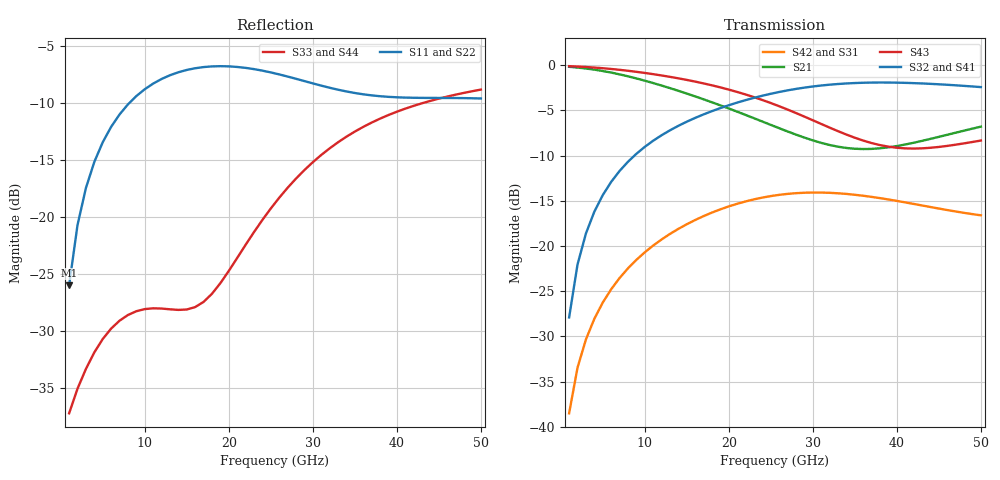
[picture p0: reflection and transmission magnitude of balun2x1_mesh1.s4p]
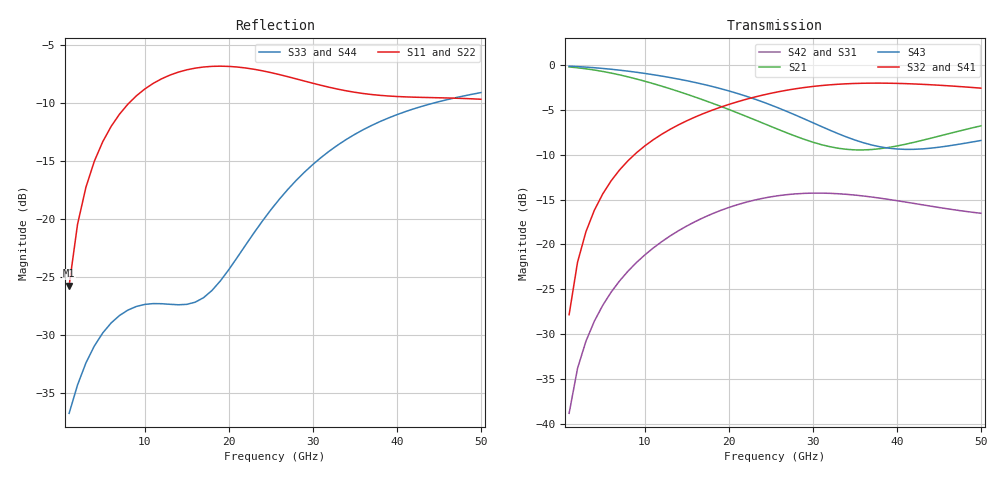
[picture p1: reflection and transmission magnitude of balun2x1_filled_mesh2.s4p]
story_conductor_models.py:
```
#!/usr/bin/env python
"""Plot and numbers for README.md section "Conductor model": surface impedance (the mesh study above) vs. conductors meshed as
volumes: settings['conductor_model'] = 'solve_inside' and 'solve_inside_skin'.

Writes results/plots/story_conductor_models.png (primary Q and |Sdd21| vs. frequency) and prints the numbers quoted
in README.md. Reference: 'solve_inside_skin', 1 um mesh. DOF from the Palace output of each run.
"""
import os
import matplotlib
matplotlib.use("Agg")
import matplotlib.pyplot as plt

import story_plots as S

RUNS = [  # label, Touchstone file, DOF, color, line style
    ("surface impedance, 1 µm", "balun2x1_mesh1.s4p", 1757854, S.BLUE, "-"),
    ("solve_inside, 2 µm", "balun2x1_filled_mesh2.s4p", 1035766, S.ORANGE, "--"),
    ("solve_inside_skin, 2 µm", "balun2x1_skin_mesh2.s4p", 1701490, S.AQUA, "--"),
    ("solve_inside_skin, 1 µm", "balun2x1_skin_mesh1.s4p", 3851706, S.INK, "-"),
]
TABLE = RUNS[-1:] + [("solve_inside_skin, 2 µm", "balun2x1_skin_mesh2.s4p", 1701490, None, None),
                     ("solve_inside_skin, 5 µm", "balun2x1_skin_mesh5.s4p", 610096, None, None),
                     ("solve_inside, 2 µm", "balun2x1_filled_mesh2.s4p", 1035766, None, None),
                     ("surface impedance, 1 µm", "balun2x1_mesh1.s4p", 1757854, None, None),
                     ("surface impedance, 2 µm", "balun2x1_mesh2.s4p", 860902, None, None)]
REFERENCE = "balun2x1_skin_mesh1.s4p"


def plot():
    fig, axes = plt.subplots(1, 2, figsize=(10, 3.9))
    for label, fname, _, color, ls in RUNS:
        ntw = S.load(fname)
        m = S.merits(ntw)
        coil = ntw.f <= S.F_COIL_MAX
        axes[0].plot(ntw.f[coil] / 1e9, m["Qp"][coil], color=color, linestyle=ls, linewidth=2, label=label)
        axes[1].plot(ntw.f / 1e9, m["Sdd21"], color=color, linestyle=ls, linewidth=2, label=label)
    for ax, title in zip(axes, ("Primary Q", "Differential transmission |Sdd21| (dB)")):
        S.style(ax)
        ax.set_title(title, loc="left", fontsize=11, color=S.INK)
        ax.set_xlabel("Frequency (GHz)", color=S.INK2)
    axes[0].set_ylim(bottom=0)
    axes[1].set_xlim(15, 50)
    axes[1].set_ylim(-3.5, -1)
    handles, labels = axes[0].get_legend_handles_labels()
    fig.legend(handles, labels, loc="upper center", ncol=3, frameon=False, fontsize=9)
    fig.tight_layout(rect=(0, 0, 1, 0.84))
    out = os.path.join(S.PLOT_DIR, "story_conductor_models.png")
    fig.savefig(out, dpi=130, facecolor="white")
    plt.close(fig)
    print("wrote", out)


def numbers():
    ref = S.load(REFERENCE)
    r = S.merits(ref)
    c = ref.f <= S.F_COIL_MAX
    qp0, qs0 = r["Qp"][c].max(), r["Qs"][c].max()
    print(f"\nRelative to {REFERENCE}; L, k at {S.L_FREQ / 1e9:.0f} GHz, Q peaks below {S.F_COIL_MAX / 1e9:.0f} GHz")
    print(f"{'model':30s} {'DOF':>10s} {'Lp':>6s} {'k':>6s} {'Qp pk':>6s} {'dQp':>7s} {'Qs pk':>6s} {'dQs':>7s} {'Sdd21 pk':>8s} {'@GHz':>5s}")
    for label, fname, dof, _, _ in TABLE:
        ntw = S.load(fname)
        m = S.merits(ntw)
        c = ntw.f <= S.F_COIL_MAX
        qp, qs = m["Qp"][c].max(), m["Qs"][c].max()
        print(f"{label:30s} {dof:10,d} {S.at(ntw, m['Lp'], S.L_FREQ):6.3f} {S.at(ntw, m['k'], S.L_FREQ):6.3f} "
              f"{qp:6.2f} {100 * (qp / qp0 - 1):+6.1f}% {qs:6.2f} {100 * (qs / qs0 - 1):+6.1f}% "
              f"{m['Sdd21'].max():8.2f} {ntw.f[m['Sdd21'].argmax()] / 1e9:5.1f}")


if __name__ == "__main__":
    plot()
    numbers()
```
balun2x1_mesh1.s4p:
! Created with skrf 2.2.0 (http://scikit-rf.org).
# GHz S DB R 50.0
! Port[1] = P1
! Port[2] = P2
! Port[3] = P3
! Port[4] = P4
!freq dBS11 angS11 dBS12 angS12 dBS13 angS13
! dBS14 angS14
! dBS21 angS21 dBS22 angS22 dBS23 angS23
! dBS24 angS24
! dBS31 angS31 dBS32 angS32 dBS33 angS33
! dBS34 angS34
! dBS41 angS41 dBS42 angS42 dBS43 angS43
! dBS44 angS44
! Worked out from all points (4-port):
!   50 points, 1 GHz to 50 GHz, reference 50 ohm
!   strongest paths, dB at 1 GHz, 13 GHz, 26 GHz, 38 GHz, 50 GHz:
!     S32: -27.9, -7.2, -3.0, -1.9, -2.4
!     S41: -27.9, -7.2, -3.0, -2.0, -2.5
!     S43: -0.1, -1.3, -4.5, -8.8, -8.3
!     S21: -0.2, -2.5, -7.0, -9.2, -6.8
!     S42: -38.5, -18.7, -14.4, -14.7, -16.6
!     S31: -38.5, -18.7, -14.5, -14.9, -16.8
!   lowest |S11| = -26.0 dB at 1 GHz (marker M1), VSWR 1.11, Z = 52 + j4.72 ohm
!   |S11| at or under -10 dB: start of sweep to 8.129 GHz
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1  -25.99 64.6  -0.19 -5.3  -38.52 -109.6  -27.91 84.2
   -0.19 -5.3  -25.99 64.5  -27.91 84.2  -38.51 -109.6
   -38.52 -109.6  -27.91 84.2  -37.24 25.1  -0.12 -2.6
   -27.91 84.2  -38.51 -109.6  -0.12 -2.6  -37.24 25.1
28  -7.85 -18.6  -7.69 -136.3  -14.30 63.1  -2.65 0.8
    -7.69 -136.3  -7.98 -20.0  -2.63 0.7  -14.17 61.6
    -14.30 63.1  -2.63 0.7  -16.62 168.9  -5.30 -52.7
    -2.65 0.8  -14.17 61.6  -5.30 -52.7  -16.44 168.7
50  -9.58 -35.4  -6.81 89.8  -16.78 -8.5  -2.47 -53.6
    -6.81 89.8  -9.91 -35.8  -2.43 -54.1  -16.61 -12.6
    -16.78 -8.5  -2.43 -54.1  -8.79 89.0  -8.34 -29.7
    -2.47 -53.6  -16.61 -12.6  -8.34 -29.7  -8.64 88.4
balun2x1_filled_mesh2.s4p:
! Created with skrf 2.2.0 (http://scikit-rf.org).
# GHz S DB R 50.0
! Port[1] = P1
! Port[2] = P2
! Port[3] = P3
! Port[4] = P4
!freq dBS11 angS11 dBS12 angS12 dBS13 angS13
! dBS14 angS14
! dBS21 angS21 dBS22 angS22 dBS23 angS23
! dBS24 angS24
! dBS31 angS31 dBS32 angS32 dBS33 angS33
! dBS34 angS34
! dBS41 angS41 dBS42 angS42 dBS43 angS43
! dBS44 angS44
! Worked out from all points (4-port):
!   50 points, 1 GHz to 50 GHz, reference 50 ohm
!   strongest paths, dB at 1 GHz, 13 GHz, 26 GHz, 38 GHz, 50 GHz:
!     S32: -27.8, -7.2, -3.0, -2.0, -2.6
!     S41: -27.8, -7.2, -3.0, -2.0, -2.6
!     S43: -0.1, -1.4, -4.8, -9.1, -8.4
!     S21: -0.2, -2.6, -7.2, -9.3, -6.8
!     S42: -38.8, -19.1, -14.6, -14.8, -16.5
!     S31: -38.8, -19.1, -14.7, -15.0, -16.7
!   lowest |S11| = -25.8 dB at 1 GHz (marker M1), VSWR 1.11, Z = 52.2 + j4.77 ohm
!   |S11| at or under -10 dB: start of sweep to 8.18 GHz
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1  -25.77 62.1  -0.21 -5.4  -38.83 -109.8  -27.83 84.3
   -0.21 -5.4  -25.77 62.1  -27.83 84.3  -38.82 -109.8
   -38.83 -109.8  -27.83 84.3  -36.76 24.4  -0.13 -2.6
   -27.83 84.3  -38.82 -109.8  -0.13 -2.6  -36.76 24.4
28  -7.95 -19.0  -7.95 -138.7  -14.48 59.5  -2.65 0.0
    -7.95 -138.7  -8.08 -20.4  -2.64 -0.1  -14.36 58.1
    -14.48 59.5  -2.64 -0.1  -16.72 168.0  -5.60 -52.8
    -2.65 0.0  -14.36 58.1  -5.60 -52.8  -16.55 167.6
50  -9.71 -37.4  -6.78 87.1  -16.67 -10.3  -2.61 -54.0
    -6.78 87.1  -10.03 -37.9  -2.57 -54.5  -16.52 -14.3
    -16.67 -10.3  -2.57 -54.5  -9.14 88.2  -8.41 -28.1
    -2.61 -54.0  -16.52 -14.3  -8.41 -28.1  -8.98 87.6
